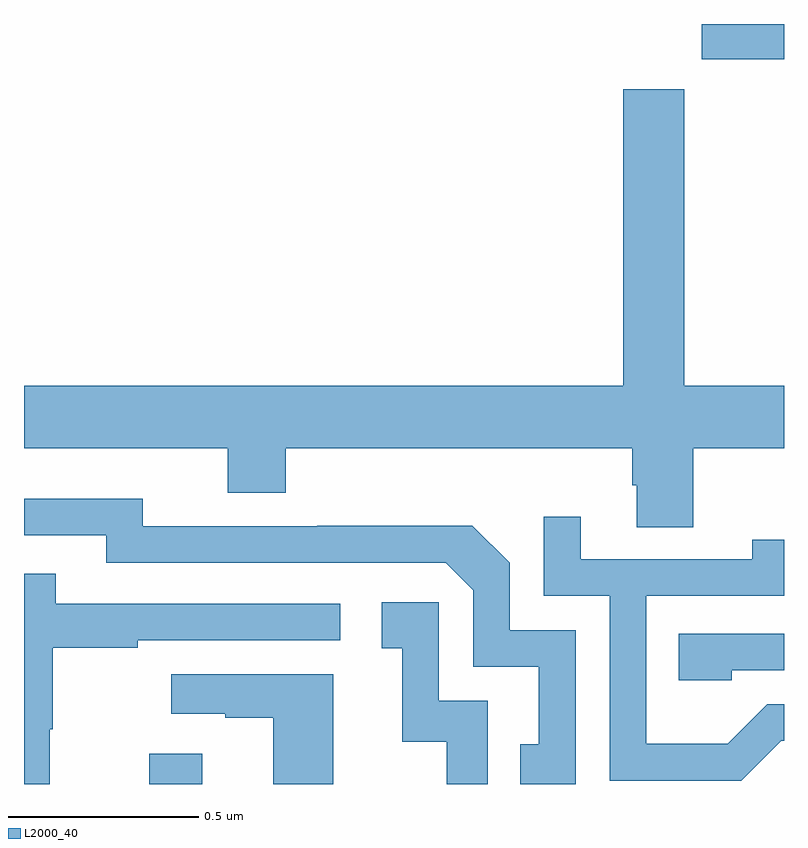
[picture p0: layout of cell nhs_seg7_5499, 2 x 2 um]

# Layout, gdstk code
import gdstk
lib = gdstk.Library(unit=1e-6, precision=1e-09)
def R(c, l, rs):  # rectangles x0, y0, x1, y1
    for r in rs: c.add(gdstk.rectangle(r[:2], r[2:], *l))
def P(c, l, *ps):  # polygons
    for p in ps: c.add(gdstk.Polygon(p, *l))
L2000_40 = (2000, 40)

nhs_seg7_5499 = lib.new_cell('nhs_seg7_5499')
R(nhs_seg7_5499, L2000_40, [(186.329,1065,186.469,1065.079), (187.784,1066.907,188,1067)])
P(nhs_seg7_5499, L2000_40, [(187.761,1065.884),(188,1065.884),(188,1066.048),(187.737,1066.048),(187.737,1066.828),(187.577,1066.828),(187.577,1066.048),(186,1066.048),(186,1065.884),(186.536,1065.884),(186.536,1065.767),(186.689,1065.767),(186.689,1065.884),(187.601,1065.884),(187.601,1065.786),(187.613,1065.786),(187.613,1065.676),(187.761,1065.676)],
  [(187.452,1065.405),(187.278,1065.405),(187.278,1065.582),(187.18,1065.68),(186.772,1065.68),(186.772,1065.678),(186.312,1065.678),(186.312,1065.751),(186,1065.751),(186,1065.654),(186.216,1065.654),(186.216,1065.582),(187.11,1065.582),(187.182,1065.51),(187.182,1065.309),(187.355,1065.309),(187.355,1065.105),(187.306,1065.105),(187.306,1065),(187.452,1065)],
  [(187.993,1065.114),(188,1065.114),(188,1065.21),(187.956,1065.21),(187.852,1065.106),(187.638,1065.106),(187.638,1065.495),(188,1065.495),(188,1065.643),(187.916,1065.643),(187.916,1065.591),(187.465,1065.591),(187.465,1065.703),(187.368,1065.703),(187.368,1065.495),(187.542,1065.495),(187.542,1065.009),(187.888,1065.009)],
  [(186.068,1065.144),(186.076,1065.144),(186.076,1065.358),(186.299,1065.358),(186.299,1065.378),(186.832,1065.378),(186.832,1065.474),(186.083,1065.474),(186.083,1065.553),(186,1065.553),(186,1065),(186.068,1065)],
  [(187.221,1065.219),(187.092,1065.219),(187.092,1065.478),(186.942,1065.478),(186.942,1065.357),(186.995,1065.357),(186.995,1065.111),(187.113,1065.111),(187.113,1065),(187.221,1065)],
  [(187.863,1065.3),(188,1065.3),(188,1065.396),(187.723,1065.396),(187.723,1065.273),(187.863,1065.273)],
  [(186.814,1065.289),(186.387,1065.289),(186.387,1065.185),(186.53,1065.185),(186.53,1065.175),(186.656,1065.175),(186.656,1065),(186.814,1065)])

lib.write_gds('nhs_seg7_5499.gds')
